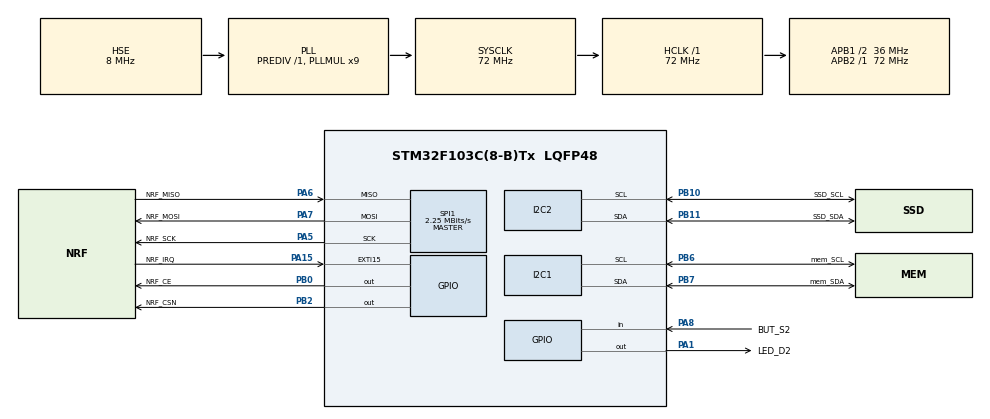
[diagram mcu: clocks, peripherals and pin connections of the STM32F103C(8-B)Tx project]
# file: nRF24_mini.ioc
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Mcu.Family=STM32F1
RCC.PLLSourceVirtual=RCC_PLLSOURCE_HSE
PA6.Mode=Full_Duplex_Master
PA7.Mode=Full_Duplex_Master
PD1-OSC_OUT.Mode=HSE-External-Oscillator
SPI1.VirtualType=VM_MASTER
PB10.Mode=I2C
PB11.GPIO_Label=SSD_SDA
PB0.GPIO_Label=NRF_CE
PA6.GPIO_Label=NRF_MISO
PB6.GPIO_Label=mem_SCL
PD0-OSC_IN.Signal=RCC_OSC_IN
RCC.APB1CLKDivider=RCC_HCLK_DIV2
PB11.Signal=I2C2_SDA
RCC.SYSCLKSource=RCC_SYSCLKSOURCE_PLLCLK
ProjectManager.StackSize=0x200
PD1-OSC_OUT.Signal=RCC_OSC_OUT
PA13.Signal=SYS_JTMS-SWDIO
PA15.GPIO_Label=NRF_IRQ
PA8.GPIO_Label=BUT_S2
PB11.Mode=I2C
ProjectManager.TargetToolchain=MDK-ARM V5
PB10.GPIO_Label=SSD_SCL
PA15.GPIO_ModeDefaultEXTI=GPIO_MODE_IT_FALLING
SPI1.Direction=SPI_DIRECTION_2LINES
RCC.HCLKFreq_Value=72000000
RCC.APB2TimFreq_Value=72000000
PB6.Signal=I2C1_SCL
PB6.Mode=I2C
SPI1.CalculateBaudRate=2.25 MBits/s
RCC.USBFreq_Value=72000000
PA1.Signal=GPIO_Output
RCC.AHBFreq_Value=72000000
PD0-OSC_IN.Mode=HSE-External-Oscillator
PB10.Signal=I2C2_SCL
NVIC.EXTI15_10_IRQn=true\:0\:0\:false\:false\:true\:true\:true
PA5.Signal=SPI1_SCK
PB2.Signal=GPIO_Output
board=ssd1306
RCC.PLLMUL=RCC_PLL_MUL9
RCC.APB2Freq_Value=72000000
SPI1.Mode=SPI_MODE_MASTER
PA14.Mode=Serial_Wire
PA1.GPIO_Label=LED_D2
PB7.Signal=I2C1_SDA
PA8.Signal=GPIO_Input
PA13.Mode=Serial_Wire
PB2.PinState=GPIO_PIN_SET
Mcu.Name=STM32F103C(8-B)Tx
PB7.GPIO_Label=mem_SDA
RCC.SYSCLKFreq_VALUE=72000000
Mcu.Package=LQFP48
PA6.Signal=SPI1_MISO
PA7.GPIO_Label=NRF_MOSI
PA5.GPIO_Label=NRF_SCK
PB7.Mode=I2C
PA14.Signal=SYS_JTCK-SWCLK
PB2.GPIO_Label=NRF_CSN
PA15.Signal=GPXTI15
ProjectManager.HeapSize=0x400
NVIC.PriorityGroup=NVIC_PRIORITYGROUP_4
PA15.GPIO_PuPd=GPIO_PULLUP
RCC.APB1TimFreq_Value=72000000
RCC.APB1Freq_Value=36000000
SPI1.BaudRatePrescaler=SPI_BAUDRATEPRESCALER_32
PB0.Signal=GPIO_Output
I2C2.I2C_Mode=I2C_Fast
PA7.Signal=SPI1_MOSI
PA5.Mode=Full_Duplex_Master

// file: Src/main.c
/* USER CODE BEGIN Header */
/**
  ******************************************************************************
  * @file           : main.c
  * @brief          : Main program body
  ******************************************************************************
  * @attention
  *
  * <h2><center>&copy; Copyright (c) 2023 STMicroelectronics.
  * All rights reserved.</center></h2>
  *
  * This software component is licensed by ST under BSD 3-Clause license,
  * the "License"; You may not use this file except in compliance with the
  * License. You may obtain a copy of the License at:
  *                        opensource.org/licenses/BSD-3-Clause
  *
  ******************************************************************************
  */
/* USER CODE END Header */

#include "main.h"
#include "i2c.h"
#include "spi.h"
#include "gpio.h"

/* USER CODE BEGIN Includes */
#include <stdio.h>
#include "fonts.h"
#include "ssd1306.h"
#include "nrf24.h"
/* USER CODE END Includes */

/* USER CODE BEGIN PV */
char nrf_str1[20]={0};
int8_t wait_irg=0, nrf_irq=0;
union {
    uint8_t  data [TX_PLOAD_WIDTH];
    uint16_t valT[4];
} nrf_buff;
/* USER CODE END PV */

void SystemClock_Config(void);
/* USER CODE BEGIN PFP */
void home_screen(void);
void NRF_displ_config(void);
/* USER CODE END PFP */

int main(void)
{
  /* USER CODE BEGIN 1 */
  uint8_t temp;
  /* USER CODE END 1 */

  /* MCU Configuration--------------------------------------------------------*/

  /* Reset of all peripherals, Initializes the Flash interface and the Systick. */
  HAL_Init();

  /* Configure the system clock */
  SystemClock_Config();

  /* Initialize all configured peripherals */
  MX_GPIO_Init();
  MX_I2C2_Init();
  MX_I2C1_Init();
  MX_SPI1_Init();
  /* USER CODE BEGIN 2 */
  home_screen();
  /* USER CODE END 2 */

  /* Infinite loop */
  /* USER CODE BEGIN WHILE */
  SSD1306_Fill(SSD1306_COLOR_BLACK);  // Clear OLED
  while (1){
    LED_TGL;
    /* USER CODE END WHILE */

    /* USER CODE BEGIN 3 */
//    NRF_displ_config();
//    if(HAL_GPIO_ReadPin(BUT_S2_GPIO_Port, BUT_S2_Pin)==GPIO_PIN_RESET) NRF_displ_config();
    wait_irg--;
    if(wait_irg>0){
      SSD1306_Fill(SSD1306_COLOR_BLACK);           // Clear OLED
      temp = nrf_buff.valT[0]%10;                   // дробная часть
      sprintf(nrf_str1,"T0=%2i,%u",nrf_buff.valT[0]/10,temp); SSD1306_GotoXY(0, 0); SSD1306_Puts(nrf_str1, &Font_7x10, SSD1306_COLOR_WHITE);
      temp = nrf_buff.valT[1]%10;                   // дробная часть
      sprintf(nrf_str1,"T1=%2i,%u",nrf_buff.valT[1]/10,temp); SSD1306_GotoXY(70,0); SSD1306_Puts(nrf_str1, &Font_7x10, SSD1306_COLOR_WHITE);
      temp = nrf_buff.valT[2]%10;                   // дробная часть
      sprintf(nrf_str1,"T2=%2i,%u",nrf_buff.valT[2]/10,temp); SSD1306_GotoXY(0, 15); SSD1306_Puts(nrf_str1, &Font_7x10, SSD1306_COLOR_WHITE);
      temp = nrf_buff.valT[3]%10;                   // дробная часть
      sprintf(nrf_str1,"T3=%2i,%u",nrf_buff.valT[3]/10,temp); SSD1306_GotoXY(70,15); SSD1306_Puts(nrf_str1, &Font_7x10, SSD1306_COLOR_WHITE);

      sprintf(nrf_str1,"DS=%i  TI=%i  EN=%i",nrf_buff.data[DATA_TEMPR],nrf_buff.data[DATA_TEMPR + AMOUNT_SENS],nrf_buff.data[DATA_TEMPR + AMOUNT_SENS + INTERVAL]);
      SSD1306_GotoXY(0,30); SSD1306_Puts(nrf_str1, &Font_7x10, SSD1306_COLOR_WHITE);

      sprintf(nrf_str1,"wait=%2i irq=%i",wait_irg,nrf_irq);
      SSD1306_GotoXY(0,50); SSD1306_Puts(nrf_str1, &Font_7x10, SSD1306_COLOR_WHITE);
    }
    else {
      SSD1306_Fill(SSD1306_COLOR_BLACK);            // Clear OLED
      if(NRF_RDreg(CONFIG)!= CONFIGDATA) NRF_WRreg_byte(CONFIG,CONFIGDATA);// режим приёмника 0x0b
      NRF_displ_config();
      temp++; wait_irg=0;
      sprintf(nrf_str1,"no signal:%3i",temp);
      SSD1306_GotoXY(10,50); SSD1306_Puts(nrf_str1, &Font_7x10, SSD1306_COLOR_WHITE);
    }
    SSD1306_UpdateScreen();
    HAL_Delay(1000);
  }
  /* USER CODE END 3 */
}

void SystemClock_Config(void)
{
  RCC_OscInitTypeDef RCC_OscInitStruct = {0};
  RCC_ClkInitTypeDef RCC_ClkInitStruct = {0};

  /** Initializes the CPU, AHB and APB busses clocks
  */
  RCC_OscInitStruct.OscillatorType = RCC_OSCILLATORTYPE_HSE;
  RCC_OscInitStruct.HSEState = RCC_HSE_ON;
  RCC_OscInitStruct.HSEPredivValue = RCC_HSE_PREDIV_DIV1;
  RCC_OscInitStruct.HSIState = RCC_HSI_ON;
  RCC_OscInitStruct.PLL.PLLState = RCC_PLL_ON;
  RCC_OscInitStruct.PLL.PLLSource = RCC_PLLSOURCE_HSE;
  RCC_OscInitStruct.PLL.PLLMUL = RCC_PLL_MUL9;
  if (HAL_RCC_OscConfig(&RCC_OscInitStruct) != HAL_OK)
  {
    Error_Handler();
  }
  /** Initializes the CPU, AHB and APB busses clocks
  */
  RCC_ClkInitStruct.ClockType = RCC_CLOCKTYPE_HCLK|RCC_CLOCKTYPE_SYSCLK
                              |RCC_CLOCKTYPE_PCLK1|RCC_CLOCKTYPE_PCLK2;
  RCC_ClkInitStruct.SYSCLKSource = RCC_SYSCLKSOURCE_PLLCLK;
  RCC_ClkInitStruct.AHBCLKDivider = RCC_SYSCLK_DIV1;
  RCC_ClkInitStruct.APB1CLKDivider = RCC_HCLK_DIV2;
  RCC_ClkInitStruct.APB2CLKDivider = RCC_HCLK_DIV1;

  if (HAL_RCC_ClockConfig(&RCC_ClkInitStruct, FLASH_LATENCY_2) != HAL_OK)
  {
    Error_Handler();
  }
}

/* USER CODE BEGIN 4 */
void HAL_GPIO_EXTI_Callback(uint16_t GPIO_Pin)
{
 uint8_t temp;
 if(GPIO_Pin == NRF_IRQ_Pin){
    nrf_irq++;
    temp = NRF_RDreg(STATUS);
    if(temp & 0x40){
      LED_OFF; wait_irg=10;
      NRF_read_data(R_RX_PAYLOAD, nrf_buff.data, TX_PLOAD_WIDTH); // чтение FIFO
      NRF_WRreg_byte(STATUS, temp);             // Просто запишем регистр обратно, тем самым сбросив биты прерываний
    }
 }
}
/* USER CODE END 4 */

void Error_Handler(void)
{
}

/************************ (C) COPYRIGHT STMicroelectronics *****END OF FILE****/
